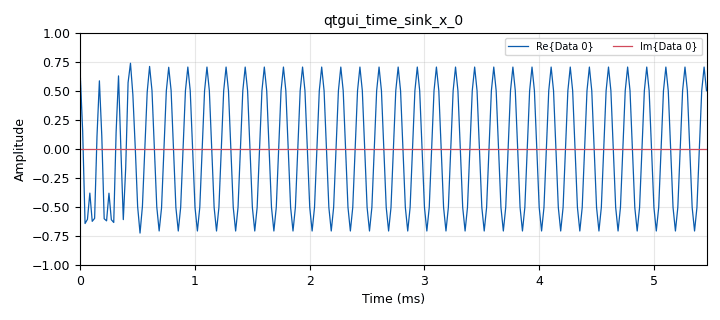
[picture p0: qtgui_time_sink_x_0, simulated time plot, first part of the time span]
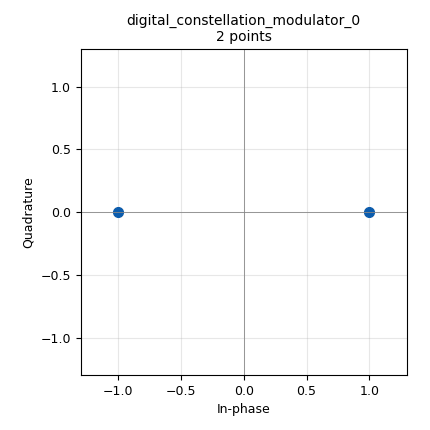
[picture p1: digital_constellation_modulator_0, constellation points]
options:
  parameters:
    author: Primesh Pinto
    description: BPSK packet transmit using UHD (for GNURadio 3.8)
    generate_options: qt_gui
    id: pkt_xmt_gr38_bpsk
    output_language: python
    title: pkt_xmt_gr38_bpsk
  states: {}

blocks:
- name: bpsk
  id: variable_constellation
  parameters:
    precision: '8'
    type: bpsk
  states: {}
- name: excess_bw
  id: variable
  parameters:
    value: '0.35'
  states: {}
- name: msg
  id: variable_qtgui_entry
  parameters:
    label: Message to Send
    type: string
    value: '"This is KC1BLZ. Gnuradio QPSK Testing"'
  states: {}
- name: rs_ratio
  id: variable
  parameters:
    value: '1.000'
  states: {}
- name: samp_rate
  id: variable
  parameters:
    value: '48000'
  states: {}
- name: sps
  id: variable
  parameters:
    value: '2'
  states: {}
- name: usrp_rate
  id: variable
  parameters:
    value: '768000'
  states: {}
- name: blocks_message_debug_0
  id: blocks_message_debug
  parameters: {}
  states: {state: disabled}
- name: blocks_message_strobe_0
  id: blocks_message_strobe
  parameters:
    msg: pmt.cons(pmt.PMT_NIL,pmt.init_u8vector(9,[71,78,85,32,82,97,100,105,111]))
    period: '1000'
  states: {}
- name: blocks_multiply_const_vxx_0
  id: blocks_multiply_const_vxx
  parameters:
    const: '0.5'
    type: complex
  states: {}
- name: blocks_pdu_to_tagged_stream_0
  id: blocks_pdu_to_tagged_stream
  parameters:
    tag: packet_len
    type: byte
  states: {}
- name: blocks_throttle_0
  id: blocks_throttle
  parameters:
    samples_per_second: samp_rate
    type: complex
  states: {state: disabled}
- name: channels_channel_model_0
  id: channels_channel_model
  parameters:
    epsilon: '1.0'
    freq_offset: '0'
    noise_voltage: '0.01'
    seed: '0'
    taps: 1.0 + 1.0j
  states: {state: disabled}
- name: digital_constellation_modulator_0
  id: digital_constellation_modulator
  parameters:
    constellation: bpsk
    differential: 'True'
    excess_bw: excess_bw
    samples_per_symbol: sps
  states: {}
- name: digital_crc32_async_bb_1
  id: digital_crc32_async_bb
  parameters:
    check: 'False'
  states: {state: disabled}
- name: import_0
  id: import
  parameters:
    imports: import numpy
  states: {}
- name: mmse_resampler_xx_0
  id: mmse_resampler_xx
  parameters:
    phase_shift: '0'
    resamp_ratio: 1.0/((usrp_rate/samp_rate)*rs_ratio)
    type: complex
  states: {}
- name: packet_format_gr38
  id: epy_block
  parameters:
    _source_code: "\"\"\"\nEmbedded Python Block\n\"\"\"\n\nimport numpy as np\nfrom gnuradio import gr\nimport pmt\nimport array\nclass blk(gr.sync_block):\n    \"\"\"Packet Format\"\"\"\n\n    def __init__(self, message=\"Test Message\"):\n        gr.sync_block.__init__(self,\n            name = \"Packet Format GR38\",\n            in_sig = None,\n            out_sig = None)\n        self.message_port_register_in(pmt.intern('PDU_in'))\n        self.message_port_register_out(pmt.intern('PDU_out0'))\n        self.set_msg_handler(pmt.intern('PDU_in'), self.handle_msg)\n        self.message=message\n\n    def handle_msg(self, msg):\n        #inMsg = pmt.to_python (msg)\n        #pld = inMsg[1] ## type-> numpy.ndarray\n        pld= np.fromstring(self.message, dtype=np.uint8)\n        #pld=np.array([84, 104, 105, 115, 32, 105, 115, 32, 75, 90, 49, 66, 76, 90, 46, 32, 84, 101, 116, 105, 110, 103, 32, 71, 78, 85, 32, 82, 97, 100, 105, 111],dtype=int) #Mannually Created String\n        mLen = len(pld)\n        if (mLen > 0):\n            ## create a numpy array of type 'int' with preamble and sync word\n            tmp_char_list = np.array([85,85,85,85,85,85,85,85,85,85,85,85,85,85,85,85,85,85,85,85,85,85,85,85,85,85,85,85,85,85,85,85,225,90,232,147],dtype=int)\n            ## append length 2x\n            tmp_char_list=np.append(tmp_char_list,(mLen >> 8))\n            tmp_char_list=np.append(tmp_char_list,(mLen & 255))\n            tmp_char_list=np.append(tmp_char_list,(mLen >> 8))\n            tmp_char_list=np.append(tmp_char_list,(mLen & 255))\n            tmp_char_list_len=len(tmp_char_list)\n            ## append original payload\n            new_char_list=np.insert(tmp_char_list,tmp_char_list_len,pld)\n            new_char_list_len=len(new_char_list)\n            ## save final numpy array as byte array, this requires 'import array'\n            ## (many thanks to Francis A. for finding this fix)\n            byte_array_new_char_list=array.array('B',new_char_list)\n            new_bytes_out_len = len(byte_array_new_char_list)\n            ## create PMT u8vector using byte array\n            new_out_bytes_pmt=pmt.cons(pmt.PMT_NIL,pmt.init_u8vector(new_bytes_out_len,(byte_array_new_char_list)))\n            self.message_port_pub(pmt.intern('PDU_out0'), new_out_bytes_pmt)\n\n"
    message: msg
  states: {}
- name: qtgui_time_sink_x_0
  id: qtgui_time_sink_x
  parameters:
    size: '1024'
    srate: samp_rate
    tr_mode: qtgui.TRIG_MODE_TAG
    tr_tag: '"packet_len"'
    type: complex
  states: {}
- name: uhd_usrp_sink_0
  id: uhd_usrp_sink
  parameters:
    ant0: TX/RX
    center_freq0: 433.4e6
    dev_addr: '""serial=30AEBEE""'
    dev_args: '""'
    gain0: '60'
    len_tag_name: ''
    norm_gain0: 'False'
    samp_rate: usrp_rate
    sync: sync
    type: fc32
  states: {}
- name: virtual_sink_0
  id: virtual_sink
  parameters:
    stream_id: tx1
  states: {}
- name: virtual_source_0
  id: virtual_source
  parameters:
    stream_id: tx1
  states: {}
- name: zeromq_pub_sink_0
  id: zeromq_pub_sink
  parameters:
    address: tcp://127.0.0.1:49203
    comment: USRP sample rate = 768kHz
    timeout: '100'
    type: complex
  states: {state: disabled}

connections:
- [blocks_message_strobe_0, strobe, digital_crc32_async_bb_1, in]
- [blocks_message_strobe_0, strobe, packet_format_gr38, PDU_in]
- [blocks_multiply_const_vxx_0, '0', mmse_resampler_xx_0, '0']
- [blocks_multiply_const_vxx_0, '0', qtgui_time_sink_x_0, '0']
- [blocks_pdu_to_tagged_stream_0, '0', digital_constellation_modulator_0, '0']
- [blocks_throttle_0, '0', blocks_multiply_const_vxx_0, '0']
- [channels_channel_model_0, '0', zeromq_pub_sink_0, '0']
- [digital_constellation_modulator_0, '0', virtual_sink_0, '0']
- [digital_crc32_async_bb_1, out, packet_format_gr38, PDU_in]
- [mmse_resampler_xx_0, '0', channels_channel_model_0, '0']
- [mmse_resampler_xx_0, '0', uhd_usrp_sink_0, '0']
- [packet_format_gr38, PDU_out0, blocks_message_debug_0, print_pdu]
- [packet_format_gr38, PDU_out0, blocks_pdu_to_tagged_stream_0, pdus]
- [virtual_source_0, '0', blocks_multiply_const_vxx_0, '0']
- [virtual_source_0, '0', blocks_throttle_0, '0']

metadata:
  file_format: 1
